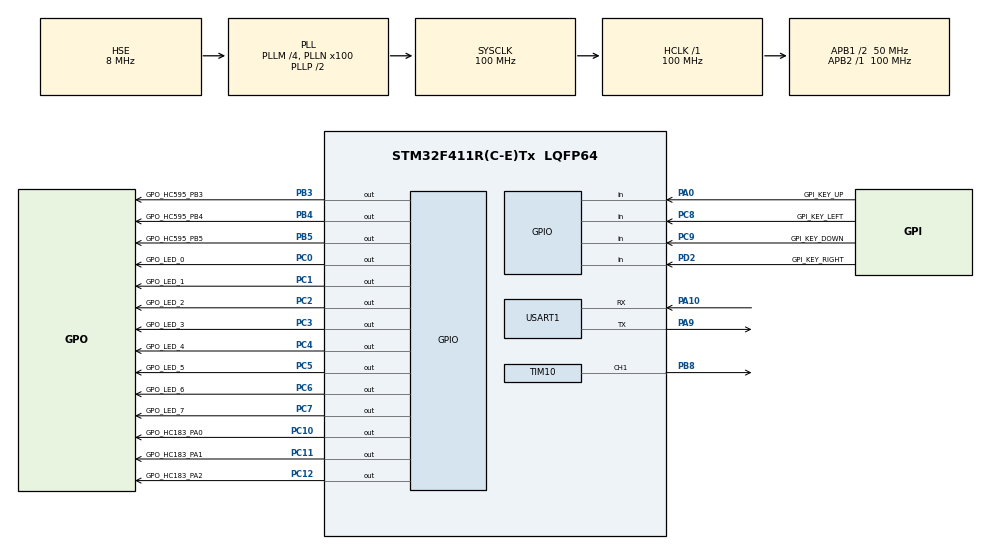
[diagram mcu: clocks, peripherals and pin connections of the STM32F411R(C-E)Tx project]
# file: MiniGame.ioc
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Dma.Request0=USART1_RX
Dma.Request1=USART1_TX
Dma.USART1_RX.0.Direction=DMA_PERIPH_TO_MEMORY
Dma.USART1_RX.0.FIFOMode=DMA_FIFOMODE_DISABLE
Dma.USART1_RX.0.Instance=DMA2_Stream2
Dma.USART1_RX.0.MemDataAlignment=DMA_MDATAALIGN_BYTE
Dma.USART1_RX.0.MemInc=DMA_MINC_ENABLE
Dma.USART1_RX.0.Mode=DMA_NORMAL
Dma.USART1_RX.0.PeriphDataAlignment=DMA_PDATAALIGN_BYTE
Dma.USART1_RX.0.PeriphInc=DMA_PINC_DISABLE
Dma.USART1_RX.0.Priority=DMA_PRIORITY_LOW
Dma.USART1_TX.1.Direction=DMA_MEMORY_TO_PERIPH
Dma.USART1_TX.1.FIFOMode=DMA_FIFOMODE_DISABLE
Dma.USART1_TX.1.Instance=DMA2_Stream7
Dma.USART1_TX.1.MemDataAlignment=DMA_MDATAALIGN_BYTE
Dma.USART1_TX.1.MemInc=DMA_MINC_ENABLE
Dma.USART1_TX.1.Mode=DMA_NORMAL
Dma.USART1_TX.1.PeriphDataAlignment=DMA_PDATAALIGN_BYTE
Dma.USART1_TX.1.PeriphInc=DMA_PINC_DISABLE
Dma.USART1_TX.1.Priority=DMA_PRIORITY_LOW
Mcu.Family=STM32F4
Mcu.Name=STM32F411R(C-E)Tx
Mcu.Package=LQFP64
NVIC.DMA2_Stream2_IRQn=true\:0\:0\:false\:false\:true\:false\:true\:true
NVIC.DMA2_Stream7_IRQn=true\:0\:0\:false\:false\:true\:false\:true\:true
NVIC.PriorityGroup=NVIC_PRIORITYGROUP_4
NVIC.TIM2_IRQn=true\:1\:0\:true\:false\:true\:true\:true\:true
NVIC.TIM5_IRQn=true\:2\:0\:true\:false\:true\:true\:true\:true
NVIC.USART1_IRQn=true\:10\:0\:true\:false\:true\:true\:true\:true
PA0-WKUP.GPIO_Label=GPI_KEY_UP
PA0-WKUP.GPIO_PuPd=GPIO_PULLDOWN
PA0-WKUP.Signal=GPIO_Input
PA1.Signal=S_TIM2_CH2
PA10.Mode=Asynchronous
PA10.Signal=USART1_RX
PA13.Mode=Serial_Wire
PA13.Signal=SYS_JTMS-SWDIO
PA14.Mode=Serial_Wire
PA14.Signal=SYS_JTCK-SWCLK
PA2.Signal=S_TIM5_CH3
PA9.Mode=Asynchronous
PA9.Signal=USART1_TX
PB3.GPIO_Label=GPO_HC595_PB3
PB3.GPIO_ModeDefaultOutputPP=GPIO_MODE_OUTPUT_PP
PB3.GPIO_PuPd=GPIO_PULLUP
PB3.PinState=GPIO_PIN_RESET
PB3.Signal=GPIO_Output
PB4.GPIO_Label=GPO_HC595_PB4
PB4.GPIO_ModeDefaultOutputPP=GPIO_MODE_OUTPUT_PP
PB4.GPIO_PuPd=GPIO_PULLUP
PB4.PinState=GPIO_PIN_RESET
PB4.Signal=GPIO_Output
PB5.GPIO_Label=GPO_HC595_PB5
PB5.GPIO_ModeDefaultOutputPP=GPIO_MODE_OUTPUT_PP
PB5.GPIO_PuPd=GPIO_PULLUP
PB5.PinState=GPIO_PIN_RESET
PB5.Signal=GPIO_Output
PB8.Signal=S_TIM10_CH1
PC0.GPIO_Label=GPO_LED_0
PC0.GPIO_ModeDefaultOutputPP=GPIO_MODE_OUTPUT_PP
PC0.GPIO_PuPd=GPIO_PULLUP
PC0.PinState=GPIO_PIN_SET
PC0.Signal=GPIO_Output
PC1.GPIO_Label=GPO_LED_1
PC1.GPIO_ModeDefaultOutputPP=GPIO_MODE_OUTPUT_PP
PC1.GPIO_PuPd=GPIO_PULLUP
PC1.PinState=GPIO_PIN_SET
PC1.Signal=GPIO_Output
PC10.GPIO_Label=GPO_HC183_PA0
PC10.GPIO_ModeDefaultOutputPP=GPIO_MODE_OUTPUT_PP
PC10.GPIO_PuPd=GPIO_PULLUP
PC10.PinState=GPIO_PIN_RESET
PC10.Signal=GPIO_Output
PC11.GPIO_Label=GPO_HC183_PA1
PC11.GPIO_ModeDefaultOutputPP=GPIO_MODE_OUTPUT_PP
PC11.GPIO_PuPd=GPIO_PULLUP
PC11.PinState=GPIO_PIN_RESET
PC11.Signal=GPIO_Output
PC12.GPIO_Label=GPO_HC183_PA2
PC12.GPIO_ModeDefaultOutputPP=GPIO_MODE_OUTPUT_PP
PC12.GPIO_PuPd=GPIO_PULLUP
PC12.PinState=GPIO_PIN_RESET
PC12.Signal=GPIO_Output
PC2.GPIO_Label=GPO_LED_2
PC2.GPIO_ModeDefaultOutputPP=GPIO_MODE_OUTPUT_PP
PC2.GPIO_PuPd=GPIO_PULLUP
PC2.PinState=GPIO_PIN_SET
PC2.Signal=GPIO_Output
PC3.GPIO_Label=GPO_LED_3
PC3.GPIO_ModeDefaultOutputPP=GPIO_MODE_OUTPUT_PP
PC3.GPIO_PuPd=GPIO_PULLUP
PC3.PinState=GPIO_PIN_SET
PC3.Signal=GPIO_Output
PC4.GPIO_Label=GPO_LED_4
PC4.GPIO_ModeDefaultOutputPP=GPIO_MODE_OUTPUT_PP
PC4.GPIO_PuPd=GPIO_PULLUP
PC4.PinState=GPIO_PIN_SET
PC4.Signal=GPIO_Output
PC5.GPIO_Label=GPO_LED_5
PC5.GPIO_ModeDefaultOutputPP=GPIO_MODE_OUTPUT_PP
PC5.GPIO_PuPd=GPIO_PULLUP
PC5.PinState=GPIO_PIN_SET
PC5.Signal=GPIO_Output
PC6.GPIO_Label=GPO_LED_6
PC6.GPIO_ModeDefaultOutputPP=GPIO_MODE_OUTPUT_PP
PC6.GPIO_PuPd=GPIO_PULLUP
PC6.PinState=GPIO_PIN_SET
PC6.Signal=GPIO_Output
PC7.GPIO_Label=GPO_LED_7
PC7.GPIO_ModeDefaultOutputPP=GPIO_MODE_OUTPUT_PP
PC7.GPIO_PuPd=GPIO_PULLUP
PC7.PinState=GPIO_PIN_SET
PC7.Signal=GPIO_Output
PC8.GPIO_Label=GPI_KEY_LEFT
PC8.GPIO_PuPd=GPIO_PULLUP
PC8.Signal=GPIO_Input
PC9.GPIO_Label=GPI_KEY_DOWN
PC9.GPIO_PuPd=GPIO_PULLUP
PC9.Signal=GPIO_Input
PD2.GPIO_Label=GPI_KEY_RIGHT
PD2.GPIO_PuPd=GPIO_PULLUP
PD2.Signal=GPIO_Input
PH0\ -\ OSC_IN.Mode=HSE-External-Oscillator
PH0\ -\ OSC_IN.Signal=RCC_OSC_IN
PH1\ -\ OSC_OUT.Mode=HSE-External-Oscillator
PH1\ -\ OSC_OUT.Signal=RCC_OSC_OUT
ProjectManager.HeapSize=0x200
ProjectManager.StackSize=0x400
ProjectManager.TargetToolchain=STM32CubeIDE
RCC.48MHZClocksFreq_Value=50000000
RCC.AHBFreq_Value=100000000
RCC.APB1CLKDivider=RCC_HCLK_DIV2
RCC.APB1Freq_Value=50000000
RCC.APB1TimFreq_Value=100000000
RCC.APB2Freq_Value=100000000
RCC.APB2TimFreq_Value=100000000
RCC.CortexFreq_Value=100000000
RCC.HCLKFreq_Value=100000000
RCC.HSE_VALUE=8000000
RCC.HSI_VALUE=16000000
RCC.LSE_VALUE=32768
RCC.PLLM=4
RCC.PLLN=100
RCC.PLLSourceVirtual=RCC_PLLSOURCE_HSE
RCC.SYSCLKFreq_VALUE=100000000
RCC.SYSCLKSource=RCC_SYSCLKSOURCE_PLLCLK
RCC.VCOOutputFreq_Value=200000000
SH.S_TIM10_CH1.0=TIM10_CH1,PWM Generation1 CH1
SH.S_TIM2_CH2.0=TIM2_CH2
SH.S_TIM5_CH3.0=TIM5_CH3
TIM10.Channel=TIM_CHANNEL_1
TIM10.Period=100-1
TIM10.Prescaler=100-1
TIM10.Pulse=100-1
TIM2.Period=5000-1
TIM2.Prescaler=1000-1
TIM5.Period=1000-1
TIM5.Prescaler=40000-1
USART1.VirtualMode=VM_ASYNC
VP_TIM10_VS_ClockSourceINT.Mode=Enable_Timer
VP_TIM2_VS_ClockSourceINT.Mode=Internal
VP_TIM5_VS_ClockSourceINT.Mode=Internal
board=custom

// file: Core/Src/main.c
/* USER CODE BEGIN Header */
/**
  ******************************************************************************
  * @file           : main.c
  * @brief          : Main program body
  ******************************************************************************
  * @attention
  *
  * Copyright (c) 2024 STMicroelectronics.
  * All rights reserved.
  *
  * This software is licensed under terms that can be found in the LICENSE file
  * in the root directory of this software component.
  * If no LICENSE file comes with this software, it is provided AS-IS.
  *
  ******************************************************************************
  */
/* USER CODE END Header */
#include "main.h"
#include "dma.h"
#include "tim.h"
#include "usart.h"
#include "gpio.h"

/* USER CODE BEGIN Includes */
#include <stdio.h>
/* USER CODE END Includes */

/* USER CODE BEGIN PV */
int __io_putchar(int ch){

	HAL_UART_Transmit(&huart1, (uint8_t *)&ch, 1, HAL_MAX_DELAY);
	return ch;

}

/* USER CODE END PV */

void SystemClock_Config(void);

int main(void)
{

  /* MCU Configuration--------------------------------------------------------*/

  /* Reset of all peripherals, Initializes the Flash interface and the Systick. */
  HAL_Init();

  /* Configure the system clock */
  SystemClock_Config();

  /* Initialize all configured peripherals */
  MX_GPIO_Init();
  MX_DMA_Init();
  MX_TIM2_Init();
  MX_TIM5_Init();
  MX_USART1_UART_Init();
  MX_TIM10_Init();
  /* USER CODE BEGIN 2 */
  extern enum MODE mode;

  snakeInit();

  keyInit();

  HAL_UARTEx_ReceiveToIdle_DMA(&huart1, rxData, sizeof(rxData));
  __HAL_DMA_DISABLE_IT(&hdma_usart1_rx, DMA_IT_HT);		//关闭传输过半触发的中�????
  /* USER CODE END 2 */

  /* Infinite loop */
  /* USER CODE BEGIN WHILE */
  while (1)
  {
	 switch(mode){
	 case START:
		 HAL_TIM_Base_Stop_IT(&htim5);
		 showStart();
		 break;
	 case PAUSE:
		 HAL_TIM_Base_Stop_IT(&htim5);
		 showPause();
		 break;
	 case RUNNING:
		 switch(difficulty){
		 case EASY:
			 __HAL_TIM_SET_AUTORELOAD(&htim5, 1999);
			 break;
		 case NORMAL:
			 __HAL_TIM_SET_AUTORELOAD(&htim5, 999);
			 break;
		 case HARD:
			 __HAL_TIM_SET_AUTORELOAD(&htim5, 99);
			 break;
		 default:
			 break;
			 }
		 ledScore(score);
		 HAL_TIM_Base_Start_IT(&htim5);
		 //HAL_Delay(0.5);
		 snakeBlockUpdate(mainSnake);
		 if(!foodGenFlag){
				foodGen(mainSnake);
				beepInit();
				eatMusic();

		 }
		 beepStop();
		 foodDisplay();

		 break;
	 case END:
		 HAL_TIM_Base_Stop_IT(&htim5);
		 showEnd();
		 break;
	 default:
		 break;

	 }

    /* USER CODE END WHILE */

  }
}

void SystemClock_Config(void)
{
  RCC_OscInitTypeDef RCC_OscInitStruct = {0};
  RCC_ClkInitTypeDef RCC_ClkInitStruct = {0};

  /** Configure the main internal regulator output voltage
  */
  __HAL_RCC_PWR_CLK_ENABLE();
  __HAL_PWR_VOLTAGESCALING_CONFIG(PWR_REGULATOR_VOLTAGE_SCALE1);

  /** Initializes the RCC Oscillators according to the specified parameters
  * in the RCC_OscInitTypeDef structure.
  */
  RCC_OscInitStruct.OscillatorType = RCC_OSCILLATORTYPE_HSE;
  RCC_OscInitStruct.HSEState = RCC_HSE_ON;
  RCC_OscInitStruct.PLL.PLLState = RCC_PLL_ON;
  RCC_OscInitStruct.PLL.PLLSource = RCC_PLLSOURCE_HSE;
  RCC_OscInitStruct.PLL.PLLM = 4;
  RCC_OscInitStruct.PLL.PLLN = 100;
  RCC_OscInitStruct.PLL.PLLP = RCC_PLLP_DIV2;
  RCC_OscInitStruct.PLL.PLLQ = 4;
  if (HAL_RCC_OscConfig(&RCC_OscInitStruct) != HAL_OK)
  {
    Error_Handler();
  }

  /** Initializes the CPU, AHB and APB buses clocks
  */
  RCC_ClkInitStruct.ClockType = RCC_CLOCKTYPE_HCLK|RCC_CLOCKTYPE_SYSCLK
                              |RCC_CLOCKTYPE_PCLK1|RCC_CLOCKTYPE_PCLK2;
  RCC_ClkInitStruct.SYSCLKSource = RCC_SYSCLKSOURCE_PLLCLK;
  RCC_ClkInitStruct.AHBCLKDivider = RCC_SYSCLK_DIV1;
  RCC_ClkInitStruct.APB1CLKDivider = RCC_HCLK_DIV2;
  RCC_ClkInitStruct.APB2CLKDivider = RCC_HCLK_DIV1;

  if (HAL_RCC_ClockConfig(&RCC_ClkInitStruct, FLASH_LATENCY_3) != HAL_OK)
  {
    Error_Handler();
  }
}

void Error_Handler(void)
{
  __disable_irq();
  while (1)
  {
  }
}
